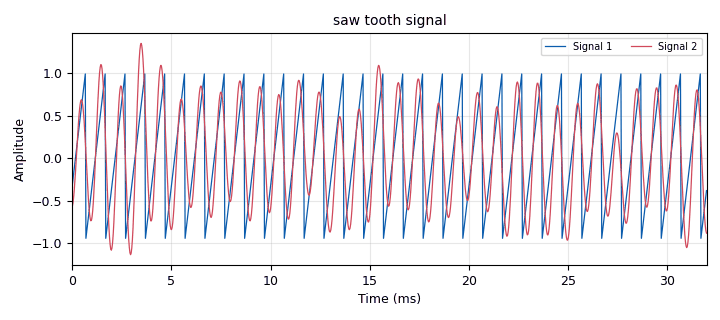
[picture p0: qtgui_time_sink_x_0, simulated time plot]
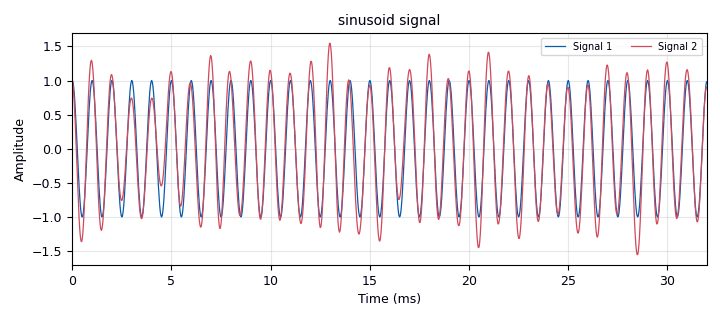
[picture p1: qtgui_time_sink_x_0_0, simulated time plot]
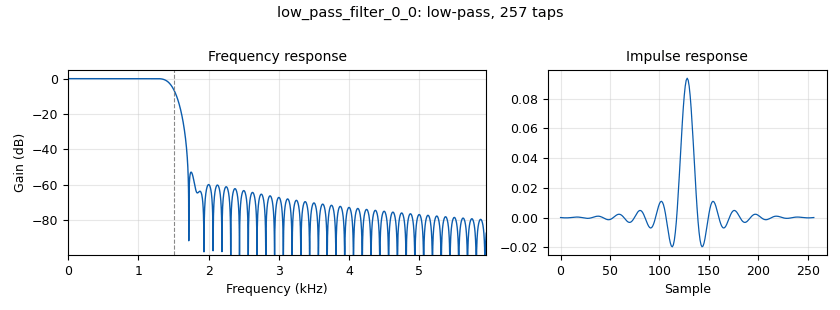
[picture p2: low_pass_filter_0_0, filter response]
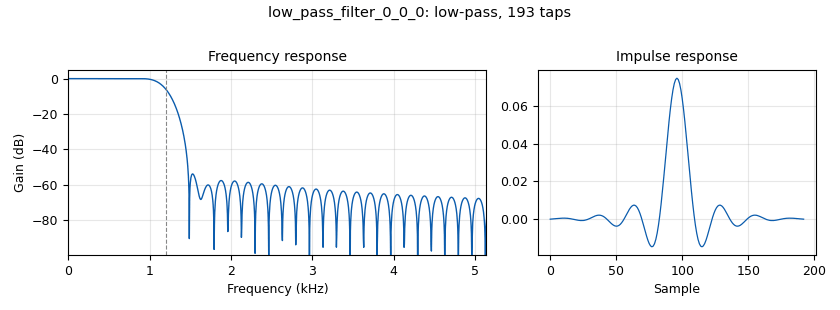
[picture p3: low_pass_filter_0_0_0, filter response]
options:
  parameters:
    generate_options: qt_gui
    id: SOBI_withnoise
    output_language: python
    title: Not titled yet
  states: {}

blocks:
- name: samp_rate
  id: variable
  parameters:
    value: '32000'
  states: {}
- name: analog_noise_source_x_0
  id: analog_noise_source_x
  parameters:
    amp: '1'
    noise_type: analog.GR_GAUSSIAN
    seed: '0'
    type: float
  states: {}
- name: analog_noise_source_x_0_0
  id: analog_noise_source_x
  parameters:
    amp: '1'
    noise_type: analog.GR_GAUSSIAN
    seed: '0'
    type: float
  states: {}
- name: analog_sig_source_x_0
  id: analog_sig_source_x
  parameters:
    amp: '1'
    freq: '1000'
    offset: '0'
    phase: '0'
    samp_rate: samp_rate
    type: float
    waveform: analog.GR_COS_WAVE
  states: {}
- name: analog_sig_source_x_1
  id: analog_sig_source_x
  parameters:
    amp: '2'
    freq: '1000'
    offset: '-1'
    phase: '-1'
    samp_rate: samp_rate
    type: float
    waveform: analog.GR_SAW_WAVE
  states: {}
- name: blocks_add_xx_0
  id: blocks_add_xx
  parameters:
    type: float
  states: {}
- name: blocks_add_xx_0_0
  id: blocks_add_xx
  parameters:
    type: float
  states: {}
- name: epy_block_1
  id: epy_block
  parameters:
    _source_code: |
      import numpy as np
      from gnuradio import gr
      import math
      import scipy

      class blk(gr.sync_block):
          def __init__(self):
              gr.sync_block.__init__(
                  self,
                  name="SOBI Block",
                  in_sig=[(np.float32), (np.float32)],  # Assuming input data matrix size [m, N] = [3, 1000]
                  out_sig=[(np.float32), (np.float32)]  # Only output the estimated source activities
              )

          def work(self, input_items, output_items):

              ## read the input
              X = np.vstack((input_items[0], input_items[1]))
              m=2
              N=8192
              print(X.shape)

              ## random matrix
              # Generate a random mxm matrix with uniform distribution
              np.random.seed(50)
              random_matrix = np.random.rand(m, m)
              # Normalize each row so that the sum of each row equals 1
              row_sums = random_matrix.sum(axis=1)
              A = random_matrix / row_sums


              ## multiplying matrix
              X_mixed = np.dot( A, X )

              ## centering the data
              X_centered= X_mixed - np.mean(X_mixed)

              ## whitening data
              covX = np.cov(X_centered)
              U, S, VV = scipy.linalg.svd(covX)
              S_inv = np.diag(1.0 / np.sqrt(S))
              whitening_matrix = U @ S_inv @ U.T
              X_whitened = whitening_matrix @ X_centered

              ## SOBI algorithm
              k = 1
              p=min(100,math.ceil(N/3))
              pm = p * m
              M = np.zeros((m, pm))
              Rxp = np.zeros((m, m))

              for u in range(0, pm, m):
                  k += 1
                  Rxp = np.dot(X_whitened[:, k-1:N], X_whitened[:, 0:N-k+1].T) / (N-k+1)
                  M[:, u:u+m] = np.linalg.norm(Rxp, 'fro') * Rxp

              epsil = 1 / np.sqrt(N) / 100
              encore = True
              V = np.eye(m)

              while encore:
                  encore = False
                  for p in range(1,m-1):
                      for q in range(p+1, m):
                          g = np.array([
                           M[p, p:m:pm] - M[q, q:m:pm],
                           M[p, q:m:pm] + M[q, p:m:pm],
                          1j * (M[q, p:m:pm] - M[p, q:m:pm])
                          ])
                          ggT = np.dot(g, g.T)
                          vcp, D = np.linalg.eig(np.real(ggT))
                          la = np.sort(np.diag(D))
                          K = np.argsort(np.diag(D))
                          angles = vcp[:, K[2]]
                          angles = np.sign(angles[0]) * angles
                          c = np.sqrt(0.5 + angles[0] / 2)
                          sr = 0.5 * (angles[1] - 1j * angles[2]) / c
                          sc = np.conj(sr)
                          oui = np.abs(sr) > epsil
                          encore = np.logical_or(encore, oui)

                          if oui:
                              colp = M[:, p:m:pm]
                              colq = M[:, q:m:pm]
                              M[:, p:m:pm] = c * colp + sr * colq
                              M[:, q:m:pm] = c * colq - sc * colp
                              rowp = M[p, :]
                              rowq = M[q, :]
                              M[p, :] = c * rowp + sc * rowq
                              M[q, :] = c * rowq - sr * rowp
                              temp = V[:, p]
                              V[:, p] = c * V[:, p] + sr * V[:, q]
                              V[:, q] = c * V[:, q] - sc * temp


              whitening_matrix_pinv = np.linalg.pinv(whitening_matrix)
              H= np.dot(whitening_matrix_pinv, V)
              S = np.dot(V.T, X_whitened)
              output_items[0][:] = S[0, :]
              output_items[1][:] = S[1, :]

              return len(output_items[0])
  states: {}
- name: epy_block_2
  id: epy_block
  parameters:
    _source_code: |
      """
      Embedded Python Blocks:

      Each time this file is saved, GRC will instantiate the first class it finds
      to get ports and parameters of your block. The arguments to __init__  will
      be the parameters. All of them are required to have default values!
      """

      import numpy as np
      from gnuradio import gr


      class blk(gr.sync_block):  # other base classes are basic_block, decim_block, interp_block
          """Embedded Python Block example - a simple multiply const"""

          def __init__(self):  # only default arguments here
              """arguments to this function show up as parameters in GRC"""
              gr.sync_block.__init__(
                  self,
                  name='correlation Block',   # will show up in GRC
                  in_sig=[(np.float32),(np.float32)],  # Two input signals
                  out_sig=[]  # No output signal
              )


          def work(self, input_items, output_items):
              signal1 = input_items[0]
              signal2 = input_items[1]

              # Calculate the correlation coefficient
              correlation_matrix = np.corrcoef(signal1, signal2)
              correlation_coefficient = correlation_matrix[0, 1]
              print(correlation_coefficient)
              #return len(input_items[0])
  states: {}
- name: epy_block_2_0
  id: epy_block
  parameters:
    _source_code: |
      """
      Embedded Python Blocks:

      Each time this file is saved, GRC will instantiate the first class it finds
      to get ports and parameters of your block. The arguments to __init__  will
      be the parameters. All of them are required to have default values!
      """

      import numpy as np
      from gnuradio import gr


      class blk(gr.sync_block):  # other base classes are basic_block, decim_block, interp_block
          """Embedded Python Block example - a simple multiply const"""

          def __init__(self):  # only default arguments here
              """arguments to this function show up as parameters in GRC"""
              gr.sync_block.__init__(
                  self,
                  name='correlation Block',   # will show up in GRC
                  in_sig=[(np.float32),(np.float32)],  # Two input signals
                  out_sig=[]  # No output signal
              )


          def work(self, input_items, output_items):
              signal1 = input_items[0]
              signal2 = input_items[1]
              q=1
              # Calculate the correlation coefficient
              correlation_matrix = np.corrcoef(signal1, signal2)
              correlation_coefficient = correlation_matrix[0, 1]
              print(correlation_coefficient)

              #return len(input_items[0])
  states: {}
- name: low_pass_filter_0_0
  id: low_pass_filter
  parameters:
    cutoff_freq: '1500'
    gain: '1'
    interp: '1'
    samp_rate: samp_rate
    type: interp_fir_filter_fff
    width: '300'
    win: window.WIN_HAMMING
  states: {}
- name: low_pass_filter_0_0_0
  id: low_pass_filter
  parameters:
    cutoff_freq: '1200'
    gain: '1'
    interp: '1'
    samp_rate: samp_rate
    type: interp_fir_filter_fff
    width: '400'
    win: window.WIN_HAMMING
  states: {}
- name: qtgui_time_sink_x_0
  id: qtgui_time_sink_x
  parameters:
    autoscale: 'True'
    entags: 'False'
    grid: 'True'
    name: saw tooth signal
    nconnections: '2'
    size: '1024'
    srate: samp_rate
    type: float
    update_time: '1'
  states: {}
- name: qtgui_time_sink_x_0_0
  id: qtgui_time_sink_x
  parameters:
    autoscale: 'True'
    entags: 'False'
    grid: 'True'
    name: sinusoid signal
    nconnections: '2'
    size: '1024'
    srate: samp_rate
    type: float
    update_time: '1'
  states: {}

connections:
- [analog_noise_source_x_0, '0', blocks_add_xx_0, '1']
- [analog_noise_source_x_0_0, '0', blocks_add_xx_0_0, '0']
- [analog_sig_source_x_0, '0', blocks_add_xx_0_0, '1']
- [analog_sig_source_x_0, '0', epy_block_2_0, '0']
- [analog_sig_source_x_0, '0', qtgui_time_sink_x_0_0, '0']
- [analog_sig_source_x_1, '0', blocks_add_xx_0, '0']
- [analog_sig_source_x_1, '0', epy_block_2, '1']
- [analog_sig_source_x_1, '0', qtgui_time_sink_x_0, '0']
- [blocks_add_xx_0, '0', epy_block_1, '1']
- [blocks_add_xx_0_0, '0', epy_block_1, '0']
- [epy_block_1, '0', epy_block_2_0, '1']
- [epy_block_1, '0', low_pass_filter_0_0, '0']
- [epy_block_1, '1', epy_block_2, '0']
- [epy_block_1, '1', low_pass_filter_0_0_0, '0']
- [low_pass_filter_0_0, '0', qtgui_time_sink_x_0_0, '1']
- [low_pass_filter_0_0_0, '0', qtgui_time_sink_x_0, '1']

metadata:
  file_format: 1
  grc_version: 3.10.6.0
